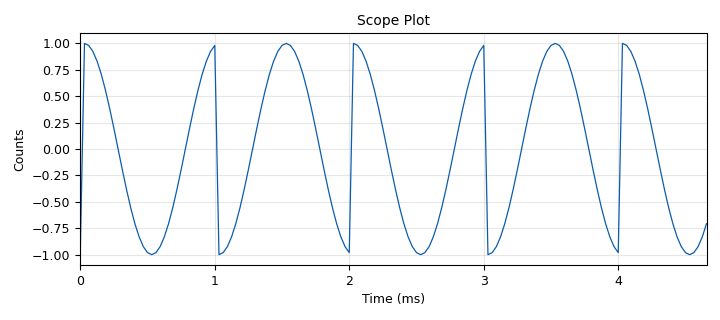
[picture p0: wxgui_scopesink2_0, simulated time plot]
<?xml version='1.0' encoding='utf-8'?>
<?grc format='1' created='3.7.10'?>
<flow_graph>
<block>
<key>options</key>
<param><key>id</key><value>top_block</value></param>
<param><key>category</key><value>Custom</value></param>
<param><key>generate_options</key><value>wx_gui</value></param>
</block>
<block>
<key>variable_slider</key>
<param><key>id</key><value>freq</value></param>
<param><key>converver</key><value>float_converter</value></param>
<param><key>value</key><value>1000</value></param>
<param><key>label</key><value></value></param>
<param><key>max</key><value>20000</value></param>
<param><key>min</key><value>100</value></param>
<param><key>num_steps</key><value>100</value></param>
<param><key>style</key><value>wx.SL_HORIZONTAL</value></param>
</block>
<block>
<key>variable</key>
<param><key>id</key><value>frequency</value></param>
<param><key>value</key><value>500</value></param>
</block>
<block>
<key>variable</key>
<param><key>id</key><value>samp_rate</value></param>
<param><key>value</key><value>32000</value></param>
</block>
<block>
<key>analog_sig_source_x</key>
<param><key>id</key><value>analog_sig_source_x_0</value></param>
<param><key>amp</key><value>1</value></param>
<param><key>freq</key><value>500</value></param>
<param><key>offset</key><value>0</value></param>
<param><key>type</key><value>float</value></param>
<param><key>samp_rate</key><value>samp_rate</value></param>
<param><key>waveform</key><value>analog.GR_SQR_WAVE</value></param>
</block>
<block>
<key>analog_sig_source_x</key>
<param><key>id</key><value>analog_sig_source_x_1</value></param>
<param><key>amp</key><value>-1</value></param>
<param><key>freq</key><value>freq</value></param>
<param><key>offset</key><value>0</value></param>
<param><key>type</key><value>float</value></param>
<param><key>samp_rate</key><value>samp_rate</value></param>
<param><key>waveform</key><value>analog.GR_COS_WAVE</value></param>
</block>
<block>
<key>analog_sig_source_x</key>
<param><key>id</key><value>analog_sig_source_x_2</value></param>
<param><key>amp</key><value>1</value></param>
<param><key>freq</key><value>freq</value></param>
<param><key>offset</key><value>0</value></param>
<param><key>type</key><value>float</value></param>
<param><key>samp_rate</key><value>samp_rate</value></param>
<param><key>waveform</key><value>analog.GR_COS_WAVE</value></param>
</block>
<block>
<key>blocks_add_xx</key>
<param><key>id</key><value>blocks_add_xx_0</value></param>
<param><key>type</key><value>float</value></param>
</block>
<block>
<key>blocks_delay</key>
<param><key>id</key><value>blocks_delay_0</value></param>
<param><key>delay</key><value>12000</value></param>
<param><key>type</key><value>float</value></param>
</block>
<block>
<key>blocks_multiply_xx</key>
<param><key>id</key><value>blocks_multiply_xx_0</value></param>
<param><key>type</key><value>float</value></param>
</block>
<block>
<key>blocks_multiply_xx</key>
<param><key>id</key><value>blocks_multiply_xx_1</value></param>
<param><key>type</key><value>float</value></param>
</block>
<block>
<key>blocks_throttle</key>
<param><key>id</key><value>blocks_throttle_0</value></param>
<param><key>samples_per_second</key><value>samp_rate</value></param>
<param><key>type</key><value>float</value></param>
</block>
<block>
<key>wxgui_scopesink2</key>
<param><key>id</key><value>wxgui_scopesink2_0</value></param>
<param><key>ac_couple</key><value>False</value></param>
<param><key>num_inputs</key><value>1</value></param>
<param><key>samp_rate</key><value>samp_rate</value></param>
<param><key>t_scale</key><value>0</value></param>
<param><key>title</key><value>Scope Plot</value></param>
<param><key>trig_mode</key><value>wxgui.TRIG_MODE_AUTO</value></param>
<param><key>type</key><value>float</value></param>
<param><key>v_offset</key><value>0</value></param>
<param><key>v_scale</key><value>0</value></param>
<param><key>xy_mode</key><value>False</value></param>
<param><key>y_axis_label</key><value>Counts</value></param>
</block>
<connection><source_block_id>analog_sig_source_x_0</source_block_id><sink_block_id>blocks_delay_0</sink_block_id><source_key>0</source_key><sink_key>0</sink_key></connection>
<connection><source_block_id>analog_sig_source_x_0</source_block_id><sink_block_id>blocks_multiply_xx_1</sink_block_id><source_key>0</source_key><sink_key>0</sink_key></connection>
<connection><source_block_id>analog_sig_source_x_1</source_block_id><sink_block_id>blocks_multiply_xx_0</sink_block_id><source_key>0</source_key><sink_key>1</sink_key></connection>
<connection><source_block_id>analog_sig_source_x_2</source_block_id><sink_block_id>blocks_multiply_xx_1</sink_block_id><source_key>0</source_key><sink_key>1</sink_key></connection>
<connection><source_block_id>blocks_add_xx_0</source_block_id><sink_block_id>blocks_throttle_0</sink_block_id><source_key>0</source_key><sink_key>0</sink_key></connection>
<connection><source_block_id>blocks_delay_0</source_block_id><sink_block_id>blocks_multiply_xx_0</sink_block_id><source_key>0</source_key><sink_key>0</sink_key></connection>
<connection><source_block_id>blocks_multiply_xx_0</source_block_id><sink_block_id>blocks_add_xx_0</sink_block_id><source_key>0</source_key><sink_key>1</sink_key></connection>
<connection><source_block_id>blocks_multiply_xx_1</source_block_id><sink_block_id>blocks_add_xx_0</sink_block_id><source_key>0</source_key><sink_key>0</sink_key></connection>
<connection><source_block_id>blocks_throttle_0</source_block_id><sink_block_id>wxgui_scopesink2_0</sink_block_id><source_key>0</source_key><sink_key>0</sink_key></connection>
</flow_graph>
